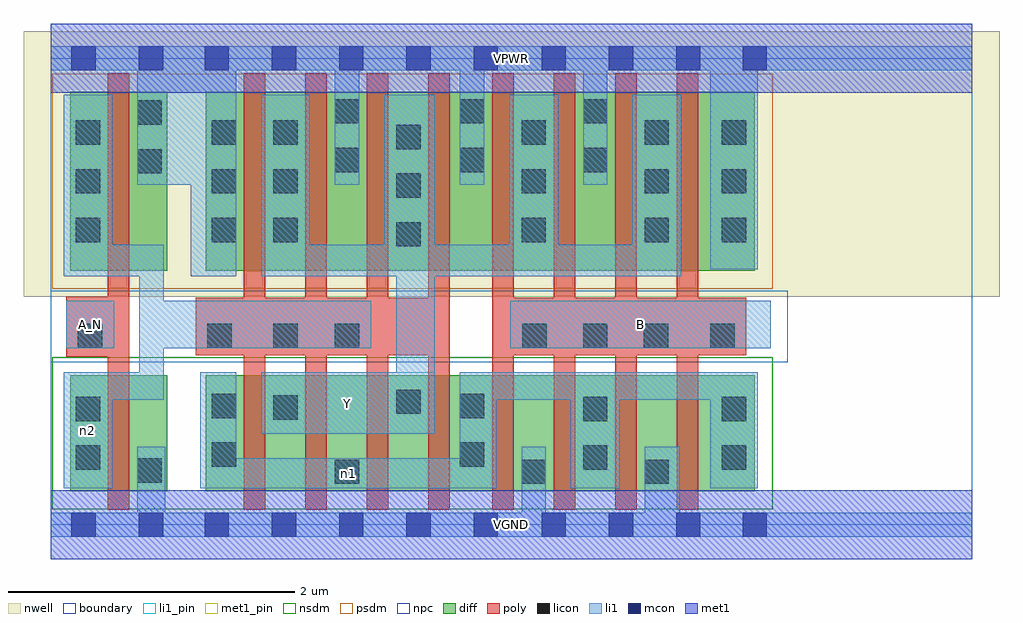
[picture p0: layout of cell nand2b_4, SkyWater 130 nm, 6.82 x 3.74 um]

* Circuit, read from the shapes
.subckt nand2b_4 A_N B VGND VPWR Y n1 n2
XM1 VGND A_N n2 VSUBS sky130_fd_pr__nfet_01v8 w=0.81 l=0.15
XM2 Y n2 n1 VSUBS sky130_fd_pr__nfet_01v8 w=0.81 l=0.15 m=4
XM3 VGND B n1 VSUBS sky130_fd_pr__nfet_01v8 w=0.81 l=0.15 m=4
XM4 VPWR A_N n2 n3 sky130_fd_pr__pfet_01v8 w=1.25 l=0.15
XM5 Y n2 VPWR n3 sky130_fd_pr__pfet_01v8 w=1.25 l=0.15 m=4
XM6 Y B VPWR n3 sky130_fd_pr__pfet_01v8 w=1.25 l=0.15 m=4
.ends

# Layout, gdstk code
import gdstk
lib = gdstk.Library(unit=1e-6, precision=1e-09)
def R(c, l, rs):  # rectangles x0, y0, x1, y1
    for r in rs: c.add(gdstk.rectangle(r[:2], r[2:], *l))
def A(c, l, x, y, w, h, nx, ny, dx, dy):  # array of equal rectangles
    R(c, l, [(x+i*dx, y+j*dy, x+i*dx+w, y+j*dy+h) for i in range(nx) for j in range(ny)])
nwell = (64, 20)
diff = (65, 20)
poly = (66, 20)
licon = (66, 44)
li1_pin = (67, 16)
li1 = (67, 20)
mcon = (67, 44)
met1_pin = (68, 16)
met1 = (68, 20)
nsdm = (93, 44)
psdm = (94, 20)
npc = (95, 20)
boundary = (235, 4)

nand2b_4 = lib.new_cell('nand2b_4')
R(nand2b_4, nwell, [(-0.19,1.595,6.63,3.45), (0,1.595,6.44,3.45)])
R(nand2b_4, diff, [(0.135,0.235,0.815,1.045), (1.085,0.235,4.92,1.045), (0.135,1.775,0.815,3.025), (1.085,1.775,4.92,3.025)])
A(nand2b_4, poly, 1.35, 0.105, 0.15, 3.05, 4, 1, 0.43, 0)
A(nand2b_4, poly, 3.085, 0.105, 0.15, 3.05, 4, 1, 0.43, 0)
R(nand2b_4, poly, [(0.4,0.105,0.55,3.155), (0.11,1.175,0.55,1.595), (1.015,1.185,2.79,1.585), (3.085,1.185,4.86,1.585)])
A(nand2b_4, licon, 3.295, 1.235, 0.17, 0.17, 3, 1, 0.425, 0)
A(nand2b_4, licon, 2.415, 1.945, 0.17, 0.17, 1, 3, 0, 0.34)
A(nand2b_4, licon, 0.175, 1.975, 0.17, 0.17, 1, 3, 0, 0.34)
A(nand2b_4, licon, 1.125, 1.975, 0.17, 0.17, 1, 3, 0, 0.34)
A(nand2b_4, licon, 1.555, 1.975, 0.17, 0.17, 1, 3, 0, 0.34)
A(nand2b_4, licon, 3.29, 1.975, 0.17, 0.17, 1, 3, 0, 0.34)
A(nand2b_4, licon, 4.15, 1.975, 0.17, 0.17, 1, 3, 0, 0.34)
A(nand2b_4, licon, 4.69, 1.975, 0.17, 0.17, 1, 3, 0, 0.34)
R(nand2b_4, licon, [(1.985,0.285,2.155,0.455), (3.29,0.285,3.46,0.455), (4.15,0.285,4.32,0.455), (0.605,0.295,0.775,0.465), (0.175,0.385,0.345,0.555), (3.72,0.385,3.89,0.555), (4.69,0.385,4.86,0.555), (1.125,0.405,1.295,0.575), (2.86,0.405,3.03,0.575), (0.175,0.725,0.345,0.895), (3.72,0.725,3.89,0.895), (4.69,0.725,4.86,0.895), (1.555,0.735,1.725,0.905), (1.125,0.745,1.295,0.915), (2.86,0.745,3.03,0.915), (2.415,0.775,2.585,0.945), (0.19,1.235,0.36,1.405), (1.095,1.235,1.265,1.405), (1.555,1.235,1.725,1.405), (1.985,1.235,2.155,1.405), (4.61,1.235,4.78,1.405), (0.605,2.455,0.775,2.625), (1.985,2.465,2.155,2.635), (2.86,2.465,3.03,2.635), (3.72,2.465,3.89,2.635), (0.605,2.795,0.775,2.965), (1.985,2.805,2.155,2.975), (2.86,2.805,3.03,2.975), (3.72,2.805,3.89,2.975)])
R(nand2b_4, li1_pin, [(1.47,0.635,2.685,1.065), (0.11,1.235,0.445,1.565), (3.21,1.235,5.03,1.565)])
R(nand2b_4, li1, [(0,-0.085,6.44,0.085), (0.605,-0.085,0.8,0.545), (3.29,-0.085,3.46,0.545), (4.15,-0.085,4.395,0.545), (0.09,0.255,0.43,1.065), (1.045,0.255,3.115,0.465), (1.045,0.255,1.295,1.065), (2.86,0.255,3.115,1.065), (3.635,0.255,3.975,1.065), (4.61,0.255,4.94,1.065), (1.47,0.635,2.685,1.065), (2.415,0.635,2.685,3.005), (0.09,0.875,0.79,1.065), (0.62,0.875,0.79,1.955), (2.86,0.875,4.94,1.065), (0.11,1.235,0.445,1.565), (0.62,1.235,2.24,1.565), (3.21,1.235,5.03,1.565), (0.09,1.735,0.43,3.005), (0.09,1.735,0.79,1.955), (0.98,1.735,1.295,3.345), (1.47,1.735,1.81,3.005), (1.47,1.735,4.405,1.955), (2.33,1.735,2.685,3.005), (3.205,1.735,3.545,3.005), (4.065,1.735,4.405,3.005), (4.61,1.785,4.94,3.345), (0.605,2.375,1.295,3.175), (1.985,2.375,2.155,3.345), (2.86,2.375,3.03,3.345), (3.72,2.375,3.89,3.345), (0,3.175,6.44,3.345)])
A(nand2b_4, mcon, 1.075, -0.085, 0.17, 0.17, 5, 2, 0.47, 3.26)
A(nand2b_4, mcon, 3.43, -0.085, 0.17, 0.17, 3, 2, 0.47, 3.26)
R(nand2b_4, mcon, [(0.145,-0.085,0.315,0.085), (0.615,-0.085,0.785,0.085), (4.835,-0.085,5.005,0.085), (0.145,3.175,0.315,3.345), (0.615,3.175,0.785,3.345), (4.835,3.175,5.005,3.345)])
R(nand2b_4, met1_pin, [(0,-0.24,6.44,0.24), (0,3.02,6.44,3.5)])
R(nand2b_4, met1, [(0,-0.24,6.44,0.24), (0,3.02,6.44,3.5)])
R(nand2b_4, nsdm, [(0.01,0.11,5.045,1.17)])
R(nand2b_4, psdm, [(0.01,1.65,5.045,3.15)])
R(nand2b_4, npc, [(0,1.135,5.15,1.635)])
R(nand2b_4, boundary, [(0,0,6.44,3.26)])
nand2b_4.add(gdstk.Label('A_N', (0.277,1.4), layer=67, texttype=5))
nand2b_4.add(gdstk.Label('B', (4.12,1.4), layer=67, texttype=5))
nand2b_4.add(gdstk.Label('Y', (2.077,0.85), layer=67, texttype=5))
nand2b_4.add(gdstk.Label('n1', (2.08,0.36), layer=67, texttype=5))
nand2b_4.add(gdstk.Label('n2', (0.26,0.66), layer=67, texttype=5))
nand2b_4.add(gdstk.Label('VPWR', (3.22,3.26), layer=68, texttype=5))
nand2b_4.add(gdstk.Label('VGND', (3.22,0), layer=68, texttype=5))
nand2b_4.add(gdstk.Label('A_N', (0.277,1.4), layer=67, texttype=16))
nand2b_4.add(gdstk.Label('B', (4.12,1.4), layer=67, texttype=16))
nand2b_4.add(gdstk.Label('Y', (2.077,0.85), layer=67, texttype=16))
nand2b_4.add(gdstk.Label('VPWR', (3.22,3.26), layer=68, texttype=16))
nand2b_4.add(gdstk.Label('VGND', (3.22,0), layer=68, texttype=16))

lib.write_gds('nand2b_4.gds')
